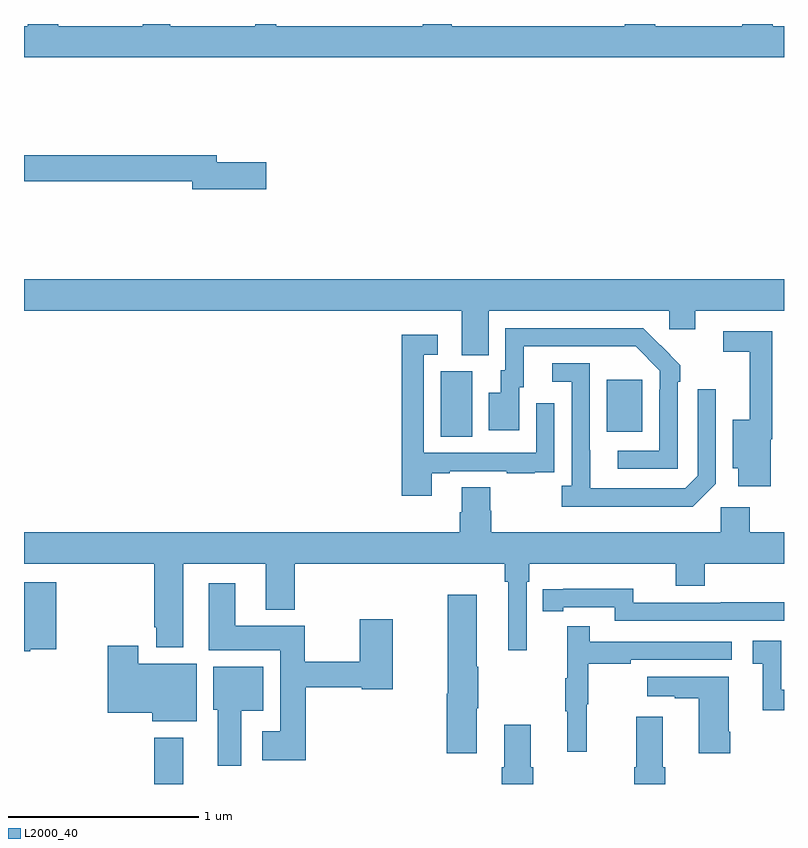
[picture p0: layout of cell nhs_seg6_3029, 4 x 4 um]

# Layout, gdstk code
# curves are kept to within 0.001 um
import gdstk
lib = gdstk.Library(unit=1e-6, precision=1e-09)
def R(c, l, rs):  # rectangles x0, y0, x1, y1
    for r in rs: c.add(gdstk.rectangle(r[:2], r[2:], *l))
def P(c, l, *ps):  # polygons
    for p in ps: c.add(gdstk.Polygon(p, *l))
L2000_40 = (2000, 40)

nhs_seg6_3029 = lib.new_cell('nhs_seg6_3029')
R(nhs_seg6_3029, L2000_40, [(289.685,955.5,289.837,955.744), (291.194,957.328,291.358,957.672), (292.067,957.353,292.255,957.628)])
P(nhs_seg6_3029, L2000_40, [(293,959.488),(292.94,959.488),(292.94,959.5),(292.78,959.5),(292.78,959.488),(292.323,959.488),(292.323,959.5),(292.163,959.5),(292.163,959.488),(291.251,959.488),(291.251,959.5),(291.098,959.5),(291.098,959.488),(290.327,959.488),(290.327,959.5),(290.216,959.5),(290.216,959.488),(289.771,959.488),(289.771,959.5),(289.624,959.5),(289.624,959.488),(289.179,959.488),(289.179,959.5),(289.019,959.5),(289.019,959.488),(289,959.488),(289,959.324),(293,959.324)],
  [(290.275,958.772),(290.014,958.772),(290.014,958.808),(289,958.808),(289,958.672),(289.886,958.672),(289.886,958.63),(290.275,958.63)],
  [(291.445,957.992),(292.395,957.992),(292.395,957.894),(292.534,957.894),(292.534,957.992),(293,957.992),(293,958.156),(289,958.156),(289,957.992),(291.305,957.992),(291.305,957.757),(291.445,957.757)],
  [(292.44,957.617),(292.455,957.617),(292.455,957.705),(292.258,957.9),(291.534,957.9),(291.534,957.678),(291.509,957.678),(291.509,957.559),(291.446,957.559),(291.446,957.363),(291.607,957.363),(291.607,957.588),(291.631,957.588),(291.631,957.804),(292.219,957.804),(292.347,957.675),(292.347,957.575),(292.344,957.575),(292.344,957.255),(292.125,957.255),(292.125,957.159),(292.44,957.159)],
  [(292.931,957.314),(292.937,957.314),(292.937,957.882),(292.68,957.882),(292.68,957.774),(292.82,957.774),(292.82,957.418),(292.73,957.418),(292.73,957.161),(292.76,957.161),(292.76,957.066),(292.931,957.066)],
  [(291.145,957.135),(291.241,957.135),(291.241,957.147),(291.541,957.147),(291.541,957.135),(291.689,957.135),(291.689,957.141),(291.791,957.141),(291.791,957.25),(291.792,957.25),(291.792,957.505),(291.696,957.505),(291.696,957.243),(291.105,957.243),(291.105,957.759),(291.178,957.759),(291.178,957.865),(290.989,957.865),(290.989,957.018),(291.145,957.018)],
  [(292.641,957.081),(292.641,957.577),(292.545,957.577),(292.545,957.123),(292.479,957.057),(291.979,957.057),(291.978,957.714),(291.78,957.714),(291.78,957.618),(291.882,957.618),(291.882,957.07),(291.831,957.07),(291.831,956.96),(292.52,956.96)],
  [(291.645,956.564),(291.659,956.564),(291.659,956.66),(292.43,956.66),(292.43,956.543),(292.583,956.543),(292.583,956.66),(293,956.66),(293,956.824),(292.82,956.824),(292.82,956.956),(292.668,956.956),(292.668,956.824),(291.458,956.824),(291.458,956.937),(291.453,956.937),(291.453,957.062),(291.305,957.062),(291.305,956.93),(291.293,956.93),(291.293,956.824),(289,956.824),(289,956.66),(289.685,956.66),(289.685,956.326),(289.697,956.326),(289.697,956.219),(289.837,956.219),(289.837,956.66),(290.273,956.66),(290.273,956.417),(290.426,956.417),(290.426,956.66),(291.529,956.66),(291.529,956.564),(291.548,956.564),(291.548,956.205),(291.645,956.205)],
  [(289.032,956.21),(289.169,956.21),(289.169,956.563),(289,956.563),(289,956.198),(289.032,956.198)],
  [(290.483,956.008),(290.778,956.008),(290.778,956),(290.94,956),(290.94,956.368),(290.767,956.368),(290.767,956.144),(290.478,956.144),(290.478,956.332),(290.113,956.332),(290.113,956.557),(289.973,956.557),(289.973,956.204),(290.348,956.204),(290.348,955.777),(290.253,955.777),(290.253,955.625),(290.483,955.625)],
  [(293,956.456),(292.666,956.456),(292.666,956.454),(292.206,956.454),(292.206,956.527),(291.838,956.527),(291.838,956.526),(291.73,956.526),(291.73,956.41),(291.838,956.41),(291.838,956.43),(292.11,956.43),(292.11,956.358),(293,956.358)],
  [(291.382,955.9),(291.39,955.9),(291.39,956.117),(291.382,956.117),(291.382,956.497),(291.229,956.497),(291.229,955.974),(291.224,955.974),(291.224,955.662),(291.382,955.662)],
  [(291.962,955.92),(291.97,955.92),(291.97,956.134),(292.193,956.134),(292.193,956.154),(292.726,956.154),(292.726,956.25),(291.977,956.25),(291.977,956.329),(291.86,956.329),(291.86,956.057),(291.849,956.057),(291.849,955.883),(291.86,955.883),(291.86,955.671),(291.962,955.671)],
  [(293,955.995),(292.986,955.995),(292.986,956.254),(292.836,956.254),(292.836,956.133),(292.889,956.133),(292.889,955.887),(293,955.887)],
  [(289.909,956.134),(289.6,956.134),(289.6,956.227),(289.442,956.227),(289.442,955.874),(289.676,955.874),(289.676,955.829),(289.909,955.829)],
  [(290.143,955.886),(290.26,955.886),(290.26,956.116),(289.997,956.116),(289.997,955.89),(290.021,955.89),(290.021,955.596),(290.143,955.596)],
  [(292.716,955.774),(292.708,955.774),(292.708,956.065),(292.281,956.065),(292.281,955.961),(292.424,955.961),(292.424,955.951),(292.55,955.951),(292.55,955.662),(292.716,955.662)],
  [(292.376,955.588),(292.363,955.588),(292.363,955.855),(292.223,955.855),(292.223,955.588),(292.211,955.588),(292.211,955.5),(292.376,955.5)],
  [(291.68,955.588),(291.667,955.588),(291.667,955.813),(291.527,955.813),(291.527,955.588),(291.515,955.588),(291.515,955.5),(291.68,955.5)])

lib.write_gds('nhs_seg6_3029.gds')
